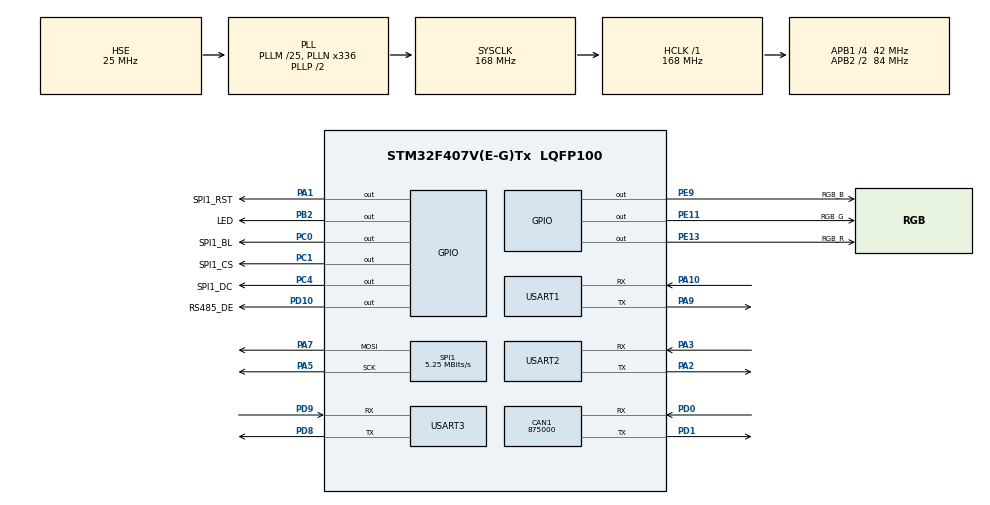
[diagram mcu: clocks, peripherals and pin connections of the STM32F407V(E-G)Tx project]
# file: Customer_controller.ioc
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CAN1.BS1=CAN_BS1_1TQ
CAN1.BS2=CAN_BS2_1TQ
CAN1.CalculateBaudRate=875000
CAN1.CalculateTimeBit=1142
CAN1.CalculateTimeQuantum=380.95238095238096
Dma.Request0=USART1_RX
Dma.Request1=USART1_TX
Dma.Request2=USART2_RX
Dma.Request3=USART2_TX
Dma.Request4=USART3_RX
Dma.Request5=USART3_TX
Dma.USART1_RX.0.Direction=DMA_PERIPH_TO_MEMORY
Dma.USART1_RX.0.FIFOMode=DMA_FIFOMODE_DISABLE
Dma.USART1_RX.0.Instance=DMA2_Stream2
Dma.USART1_RX.0.MemDataAlignment=DMA_MDATAALIGN_BYTE
Dma.USART1_RX.0.MemInc=DMA_MINC_ENABLE
Dma.USART1_RX.0.Mode=DMA_NORMAL
Dma.USART1_RX.0.PeriphDataAlignment=DMA_PDATAALIGN_BYTE
Dma.USART1_RX.0.PeriphInc=DMA_PINC_DISABLE
Dma.USART1_RX.0.Priority=DMA_PRIORITY_LOW
Dma.USART1_TX.1.Direction=DMA_MEMORY_TO_PERIPH
Dma.USART1_TX.1.FIFOMode=DMA_FIFOMODE_DISABLE
Dma.USART1_TX.1.Instance=DMA2_Stream7
Dma.USART1_TX.1.MemDataAlignment=DMA_MDATAALIGN_BYTE
Dma.USART1_TX.1.MemInc=DMA_MINC_ENABLE
Dma.USART1_TX.1.Mode=DMA_NORMAL
Dma.USART1_TX.1.PeriphDataAlignment=DMA_PDATAALIGN_BYTE
Dma.USART1_TX.1.PeriphInc=DMA_PINC_DISABLE
Dma.USART1_TX.1.Priority=DMA_PRIORITY_LOW
Dma.USART2_RX.2.Direction=DMA_PERIPH_TO_MEMORY
Dma.USART2_RX.2.FIFOMode=DMA_FIFOMODE_DISABLE
Dma.USART2_RX.2.Instance=DMA1_Stream5
Dma.USART2_RX.2.MemDataAlignment=DMA_MDATAALIGN_BYTE
Dma.USART2_RX.2.MemInc=DMA_MINC_ENABLE
Dma.USART2_RX.2.Mode=DMA_NORMAL
Dma.USART2_RX.2.PeriphDataAlignment=DMA_PDATAALIGN_BYTE
Dma.USART2_RX.2.PeriphInc=DMA_PINC_DISABLE
Dma.USART2_RX.2.Priority=DMA_PRIORITY_LOW
Dma.USART2_TX.3.Direction=DMA_MEMORY_TO_PERIPH
Dma.USART2_TX.3.FIFOMode=DMA_FIFOMODE_DISABLE
Dma.USART2_TX.3.Instance=DMA1_Stream6
Dma.USART2_TX.3.MemDataAlignment=DMA_MDATAALIGN_BYTE
Dma.USART2_TX.3.MemInc=DMA_MINC_ENABLE
Dma.USART2_TX.3.Mode=DMA_NORMAL
Dma.USART2_TX.3.PeriphDataAlignment=DMA_PDATAALIGN_BYTE
Dma.USART2_TX.3.PeriphInc=DMA_PINC_DISABLE
Dma.USART2_TX.3.Priority=DMA_PRIORITY_LOW
Dma.USART3_RX.4.Direction=DMA_PERIPH_TO_MEMORY
Dma.USART3_RX.4.FIFOMode=DMA_FIFOMODE_DISABLE
Dma.USART3_RX.4.Instance=DMA1_Stream1
Dma.USART3_RX.4.MemDataAlignment=DMA_MDATAALIGN_BYTE
Dma.USART3_RX.4.MemInc=DMA_MINC_ENABLE
Dma.USART3_RX.4.Mode=DMA_NORMAL
Dma.USART3_RX.4.PeriphDataAlignment=DMA_PDATAALIGN_BYTE
Dma.USART3_RX.4.PeriphInc=DMA_PINC_DISABLE
Dma.USART3_RX.4.Priority=DMA_PRIORITY_LOW
Dma.USART3_TX.5.Direction=DMA_MEMORY_TO_PERIPH
Dma.USART3_TX.5.FIFOMode=DMA_FIFOMODE_DISABLE
Dma.USART3_TX.5.Instance=DMA1_Stream3
Dma.USART3_TX.5.MemDataAlignment=DMA_MDATAALIGN_BYTE
Dma.USART3_TX.5.MemInc=DMA_MINC_ENABLE
Dma.USART3_TX.5.Mode=DMA_NORMAL
Dma.USART3_TX.5.PeriphDataAlignment=DMA_PDATAALIGN_BYTE
Dma.USART3_TX.5.PeriphInc=DMA_PINC_DISABLE
Dma.USART3_TX.5.Priority=DMA_PRIORITY_LOW
Mcu.Family=STM32F4
Mcu.Name=STM32F407V(E-G)Tx
Mcu.Package=LQFP100
NVIC.DMA1_Stream1_IRQn=true\:0\:0\:false\:false\:true\:false\:true\:true
NVIC.DMA1_Stream3_IRQn=true\:0\:0\:false\:false\:true\:false\:true\:true
NVIC.DMA1_Stream5_IRQn=true\:0\:0\:false\:false\:true\:false\:true\:true
NVIC.DMA1_Stream6_IRQn=true\:0\:0\:false\:false\:true\:false\:true\:true
NVIC.DMA2_Stream2_IRQn=true\:0\:0\:false\:false\:true\:false\:true\:true
NVIC.DMA2_Stream7_IRQn=true\:0\:0\:false\:false\:true\:false\:true\:true
NVIC.PriorityGroup=NVIC_PRIORITYGROUP_4
PA1.GPIO_Label=SPI1_RST
PA1.Signal=GPIO_Output
PA10.Mode=Asynchronous
PA10.Signal=USART1_RX
PA13.Mode=Serial_Wire
PA13.Signal=SYS_JTMS-SWDIO
PA14.Mode=Serial_Wire
PA14.Signal=SYS_JTCK-SWCLK
PA2.Mode=Asynchronous
PA2.Signal=USART2_TX
PA3.Mode=Asynchronous
PA3.Signal=USART2_RX
PA5.Mode=TX_Only_Simplex_Unidirect_Master
PA5.Signal=SPI1_SCK
PA7.Mode=TX_Only_Simplex_Unidirect_Master
PA7.Signal=SPI1_MOSI
PA9.Mode=Asynchronous
PA9.Signal=USART1_TX
PB2.GPIO_Label=LED
PB2.Signal=GPIO_Output
PC0.GPIO_Label=SPI1_BL
PC0.GPIO_ModeDefaultOutputPP=GPIO_MODE_OUTPUT_PP
PC0.GPIO_PuPd=GPIO_NOPULL
PC0.PinState=GPIO_PIN_RESET
PC0.Signal=GPIO_Output
PC1.GPIO_Label=SPI1_CS
PC1.Signal=GPIO_Output
PC4.GPIO_Label=SPI1_DC
PC4.Signal=GPIO_Output
PD0.Mode=CAN_Activate
PD0.Signal=CAN1_RX
PD1.Mode=CAN_Activate
PD1.Signal=CAN1_TX
PD10.GPIO_Label=RS485_DE
PD10.Signal=GPIO_Output
PD8.Mode=Asynchronous
PD8.Signal=USART3_TX
PD9.Mode=Asynchronous
PD9.Signal=USART3_RX
PE11.GPIO_Label=RGB_G
PE11.GPIO_PuPd=GPIO_NOPULL
PE11.PinState=GPIO_PIN_SET
PE11.Signal=GPIO_Output
PE13.GPIO_Label=RGB_R
PE13.GPIO_PuPd=GPIO_NOPULL
PE13.PinState=GPIO_PIN_SET
PE13.Signal=GPIO_Output
PE9.GPIO_Label=RGB_B
PE9.GPIO_PuPd=GPIO_NOPULL
PE9.PinState=GPIO_PIN_SET
PE9.Signal=GPIO_Output
PH0-OSC_IN.Mode=HSE-External-Oscillator
PH0-OSC_IN.Signal=RCC_OSC_IN
PH1-OSC_OUT.Mode=HSE-External-Oscillator
PH1-OSC_OUT.Signal=RCC_OSC_OUT
ProjectManager.HeapSize=0x200
ProjectManager.StackSize=0x400
ProjectManager.TargetToolchain=MDK-ARM V5.32
RCC.48MHZClocksFreq_Value=84000000
RCC.AHBFreq_Value=168000000
RCC.APB1CLKDivider=RCC_HCLK_DIV4
RCC.APB1Freq_Value=42000000
RCC.APB1TimFreq_Value=84000000
RCC.APB2CLKDivider=RCC_HCLK_DIV2
RCC.APB2Freq_Value=84000000
RCC.APB2TimFreq_Value=168000000
RCC.CortexFreq_Value=168000000
RCC.HCLKFreq_Value=168000000
RCC.HSE_VALUE=25000000
RCC.HSI_VALUE=16000000
RCC.LSE_VALUE=32768
RCC.PLLM=25
RCC.PLLN=336
RCC.PLLSourceVirtual=RCC_PLLSOURCE_HSE
RCC.SYSCLKFreq_VALUE=168000000
RCC.SYSCLKSource=RCC_SYSCLKSOURCE_PLLCLK
RCC.VCOOutputFreq_Value=336000000
SPI1.BaudRatePrescaler=SPI_BAUDRATEPRESCALER_16
SPI1.CalculateBaudRate=5.25 MBits/s
SPI1.Direction=SPI_DIRECTION_2LINES
SPI1.Mode=SPI_MODE_MASTER
SPI1.VirtualType=VM_MASTER
USART1.VirtualMode=VM_ASYNC
USART2.VirtualMode=VM_ASYNC
USART3.VirtualMode=VM_ASYNC
board=custom

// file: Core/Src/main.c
/* USER CODE BEGIN Header */
/**
  ******************************************************************************
  * @file           : main.c
  * @brief          : Main program body
  ******************************************************************************
  * @attention
  *
  * Copyright (c) 2024 STMicroelectronics.
  * All rights reserved.
  *
  * This software is licensed under terms that can be found in the LICENSE file
  * in the root directory of this software component.
  * If no LICENSE file comes with this software, it is provided AS-IS.
  *
  ******************************************************************************
  */
/* USER CODE END Header */
#include "main.h"
#include "can.h"
#include "dma.h"
#include "spi.h"
#include "usart.h"
#include "gpio.h"

/* USER CODE BEGIN Includes */

#include "st7735.h"
#include "fonts.h"
/* USER CODE END Includes */

void SystemClock_Config(void);

int main(void)
{

  /* MCU Configuration--------------------------------------------------------*/

  /* Reset of all peripherals, Initializes the Flash interface and the Systick. */
  HAL_Init();

  /* Configure the system clock */
  SystemClock_Config();

  /* Initialize all configured peripherals */
  MX_GPIO_Init();
  MX_DMA_Init();
  MX_SPI1_Init();
  MX_USART1_UART_Init();
  MX_USART2_UART_Init();
  MX_USART3_UART_Init();
  MX_CAN1_Init();
  /* USER CODE BEGIN 2 */
//	uint8_t *p[20];
//	*p[0]=1;
//	uint8_t receiveDate[50];
	ST7735_Init();
	HAL_GPIO_WritePin (SPI1_BL_GPIO_Port ,SPI1_BL_Pin ,GPIO_PIN_SET );
	ST7735_FillScreen(ST7735_BLACK);
  /* USER CODE END 2 */

  /* Infinite loop */
  while (1)
  {

    /* USER CODE BEGIN 3 */

	  // /*仿FOC显示***********************************************************************
	ST7735_DrawString(0, 0, "[INIT]", ST7735_YELLOW, ST7735_BLACK, &Font_11x18);
						//ST7735_DrawString(0, 0, "abcdefghigklim", ST7735_YELLOW, ST7735_BLACK, &Font_8x10);
						//ST7735_DrawString(0, 20, "abcdefghigklim", ST7735_YELLOW, ST7735_BLACK, &Font_7x10);
	ST7735_DrawString(75, 0, "Vbus:", ST7735_GRAY, ST7735_BLACK, &Font_7x10);
	ST7735_DrawString(110, 0, "NO-DC", ST7735_RED, ST7735_BLACK, &Font_7x10);
	ST7735_DrawString(145, 0, " V", ST7735_GRAY, ST7735_BLACK, &Font_7x10);

	ST7735_DrawString(75, 10, "Ibus:", ST7735_GRAY, ST7735_BLACK, &Font_7x10);
 	ST7735_DrawString(110, 10, "0.00", ST7735_GREEN, ST7735_BLACK, &Font_7x10);
	ST7735_DrawString(145, 10, " A", ST7735_GRAY, ST7735_BLACK, &Font_7x10);
	ST7735_DrawString(0, 0, "[INIT]", ST7735_YELLOW, ST7735_BLACK, &Font_11x18);

	ST7735_DrawString(0, 20, "M0[", ST7735_GRAY, ST7735_BLACK, &Font_11x18);
	ST7735_DrawString(34, 20, "Pos", ST7735_WHITE, ST7735_BLACK, &Font_11x18);
	ST7735_DrawString(65, 20, "]M1[", ST7735_GRAY, ST7735_BLACK, &Font_11x18);
	ST7735_DrawString(110, 20, "Pos", ST7735_WHITE, ST7735_BLACK, &Font_11x18);
	ST7735_DrawString(140, 20, "]", ST7735_GRAY, ST7735_BLACK, &Font_11x18);

	ST7735_DrawString(0, 40, "init communication", ST7735_WHITE, ST7735_BLACK, &Font_7x10);
	ST7735_DrawString(0, 50, "pwm in init", ST7735_WHITE, ST7735_BLACK, &Font_7x10);
	ST7735_DrawString(0, 60, "abs spi cs pin init", ST7735_WHITE, ST7735_BLACK, &Font_7x10);
 	ST7735_DrawString(0, 70, "motor setup", ST7735_WHITE, ST7735_BLACK, &Font_7x10);
		// *************************************************************************/

//	 //ST7735_DrawImage(0, 0, 100, 100,IMG);
//	  int i =-45;
//	  int j = i+45;
//	  for(i =-45;i<=100;i=i+5){
//		  j = i+45;
//		  	  	 ST7735_DrawImage(0, i, 160, 45, IMG_DATA1);
//		  HAL_Delay(100);
// ST7735_DrawImage(0, j, 160, 45, IMG_DATA1);
//
//	  	 ST7735_DrawImage(0, -5, 160, 45, IMG_DATA1);
//	  	 ST7735_DrawImage(0, 40, 160, 45, IMG_DATA1);

//ST7735_DrawImage(46+92, 0, 46, 80, gImage_123);

//ST7735_DrawImage(0, 0, 46, 80, gImage_123);

//		ST7735_FillScreen(ST7735_BLACK);
//		HAL_Delay(500);
//		ST7735_FillScreen(ST7735_BLUE);
//		HAL_Delay(500);
//		ST7735_FillScreen(ST7735_RED);
//		HAL_Delay(500);		//st7735屏幕显示
//	  	ST7735_FillScreen(ST7735_GREEN);
//		HAL_Delay(500);
//		ST7735_FillScreen(ST7735_CYAN);
//		HAL_Delay(500);
//		ST7735_FillScreen(ST7735_MAGENTA);
//		HAL_Delay(500);		//st7735屏幕显示
//		ST7735_FillScreen(ST7735_YELLOW);
//		HAL_Delay(500);
//		ST7735_FillScreen(ST7735_WHITE);
//		HAL_Delay(500);		//st7735屏幕显示
//		ST7735_DrawRectangle(0, 20, 80, 20, ST7735_BLACK);
//		HAL_Delay(1000);
//		ST7735_DrawRectangle(0, 0, 80, 20, ST7735_BLUE);
//		HAL_Delay(1000);
//		ST7735_DrawRectangle(0, 40, 80, 20, ST7735_RED);
//		HAL_Delay(1000);
//		ST7735_DrawRectangle(0, 60, 80, 20, ST7735_CYAN);
//		HAL_Delay(1000);
//		ST7735_DrawRectangle(0, 80, 80, 20, ST7735_GREEN);
//		HAL_Delay(1000);
//		ST7735_DrawRectangle(0, 100, 80, 20, ST7735_MAGENTA);
//		HAL_Delay(1000);
//		ST7735_DrawRectangle(0, 120, 80, 20, ST7735_YELLOW);
//		HAL_Delay(1000);
//		ST7735_DrawRectangle(0, 140, 80, 20, ST7735_WHITE);

/*板载功能测试***********************************************************************
	  //HAL_GPIO_WritePin (RS485_DE_GPIO_Port ,RS485_DE_Pin ,GPIO_PIN_SET);  //RS485_DE 使能
//	  HAL_GPIO_WritePin (RGB_G_GPIO_Port ,RGB_G_Pin ,GPIO_PIN_RESET );
//	  HAL_Delay (600);
//	  HAL_GPIO_WritePin (RGB_G_GPIO_Port ,RGB_G_Pin ,GPIO_PIN_SET );
//	  //HAL_GPIO_WritePin (SPI1_BL_GPIO_Port ,SPI1_BL_Pin ,GPIO_PIN_RESET );  //IPS背光使能
//	  //HAL_Delay (500);
//	  HAL_UART_Transmit(&huart1, "RoboMaster\r\n", 12, 100);
      //HAL_Delay(100);

//	  HAL_UART_Transmit (&huart1,p[0],1,500);
//	   HAL_UART_Transmit (&huart1,(uint8_t *)p,8,500);
//	void HAL_UARTEx_RxEventCallback(UART_HandleTypeDef *huart, uint16_t Size)
//	{
//		HAL_UART_Transmit_DMA (&huart6 ,receiveDate ,Size);
//		HAL_UART_Transmit_DMA(&huart1 ,receiveDate ,Size);

//	    HAL_UARTEx_ReceiveToIdle_DMA  (&huart1 ,receiveDate ,sizeof(receiveDate));
//	    HAL_UARTEx_ReceiveToIdle_DMA  (&huart6 ,receiveDate ,sizeof(receiveDate));
*************************************************************************/

//	}

  }
  /* USER CODE END 3 */
}

void SystemClock_Config(void)
{
  RCC_OscInitTypeDef RCC_OscInitStruct = {0};
  RCC_ClkInitTypeDef RCC_ClkInitStruct = {0};

  /** Configure the main internal regulator output voltage
  */
  __HAL_RCC_PWR_CLK_ENABLE();
  __HAL_PWR_VOLTAGESCALING_CONFIG(PWR_REGULATOR_VOLTAGE_SCALE1);

  /** Initializes the RCC Oscillators according to the specified parameters
  * in the RCC_OscInitTypeDef structure.
  */
  RCC_OscInitStruct.OscillatorType = RCC_OSCILLATORTYPE_HSE;
  RCC_OscInitStruct.HSEState = RCC_HSE_ON;
  RCC_OscInitStruct.PLL.PLLState = RCC_PLL_ON;
  RCC_OscInitStruct.PLL.PLLSource = RCC_PLLSOURCE_HSE;
  RCC_OscInitStruct.PLL.PLLM = 25;
  RCC_OscInitStruct.PLL.PLLN = 336;
  RCC_OscInitStruct.PLL.PLLP = RCC_PLLP_DIV2;
  RCC_OscInitStruct.PLL.PLLQ = 4;
  if (HAL_RCC_OscConfig(&RCC_OscInitStruct) != HAL_OK)
  {
    Error_Handler();
  }

  /** Initializes the CPU, AHB and APB buses clocks
  */
  RCC_ClkInitStruct.ClockType = RCC_CLOCKTYPE_HCLK|RCC_CLOCKTYPE_SYSCLK
                              |RCC_CLOCKTYPE_PCLK1|RCC_CLOCKTYPE_PCLK2;
  RCC_ClkInitStruct.SYSCLKSource = RCC_SYSCLKSOURCE_PLLCLK;
  RCC_ClkInitStruct.AHBCLKDivider = RCC_SYSCLK_DIV1;
  RCC_ClkInitStruct.APB1CLKDivider = RCC_HCLK_DIV4;
  RCC_ClkInitStruct.APB2CLKDivider = RCC_HCLK_DIV2;

  if (HAL_RCC_ClockConfig(&RCC_ClkInitStruct, FLASH_LATENCY_5) != HAL_OK)
  {
    Error_Handler();
  }
}

void Error_Handler(void)
{
  __disable_irq();
  while (1)
  {
  }
}
